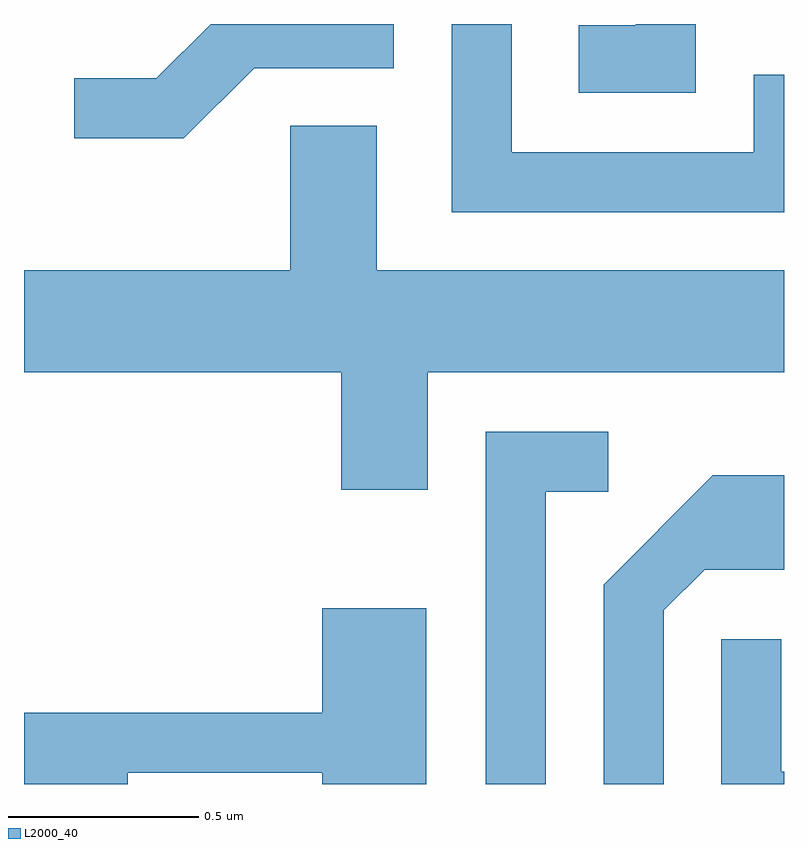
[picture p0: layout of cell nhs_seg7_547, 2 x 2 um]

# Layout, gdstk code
import gdstk
lib = gdstk.Library(unit=1e-6, precision=1e-09)
def P(c, l, *ps):  # polygons
    for p in ps: c.add(gdstk.Polygon(p, *l))
L2000_40 = (2000, 40)

nhs_seg7_547 = lib.new_cell('nhs_seg7_547')
P(nhs_seg7_547, L2000_40, [(189.217,1806.136),(189.584,1806.136),(189.584,1806.252),(189.102,1806.252),(188.959,1806.109),(188.743,1806.109),(188.743,1805.951),(189.032,1805.951)],
  [(190.611,1806.119),(190.531,1806.119),(190.531,1805.914),(189.894,1805.914),(189.894,1806.252),(189.736,1806.252),(189.736,1805.756),(190.611,1805.756)],
  [(190.379,1806.252),(190.221,1806.252),(190.221,1806.249),(190.071,1806.249),(190.071,1806.071),(190.379,1806.071)],
  [(189.674,1805.336),(190.611,1805.336),(190.611,1805.604),(189.539,1805.604),(189.539,1805.984),(189.311,1805.984),(189.311,1805.604),(188.611,1805.604),(188.611,1805.336),(189.446,1805.336),(189.446,1805.026),(189.674,1805.026)],
  [(189.984,1805.021),(190.148,1805.021),(190.148,1805.179),(189.826,1805.179),(189.826,1804.252),(189.984,1804.252)],
  [(190.294,1804.709),(190.402,1804.816),(190.611,1804.816),(190.611,1805.064),(190.424,1805.064),(190.136,1804.777),(190.136,1804.252),(190.294,1804.252)],
  [(188.884,1804.281),(189.396,1804.281),(189.396,1804.252),(189.669,1804.252),(189.669,1804.714),(189.396,1804.714),(189.396,1804.439),(188.611,1804.439),(188.611,1804.252),(188.884,1804.252)],
  [(190.611,1804.284),(190.604,1804.284),(190.604,1804.633),(190.446,1804.633),(190.446,1804.252),(190.611,1804.252)])

lib.write_gds('nhs_seg7_547.gds')
